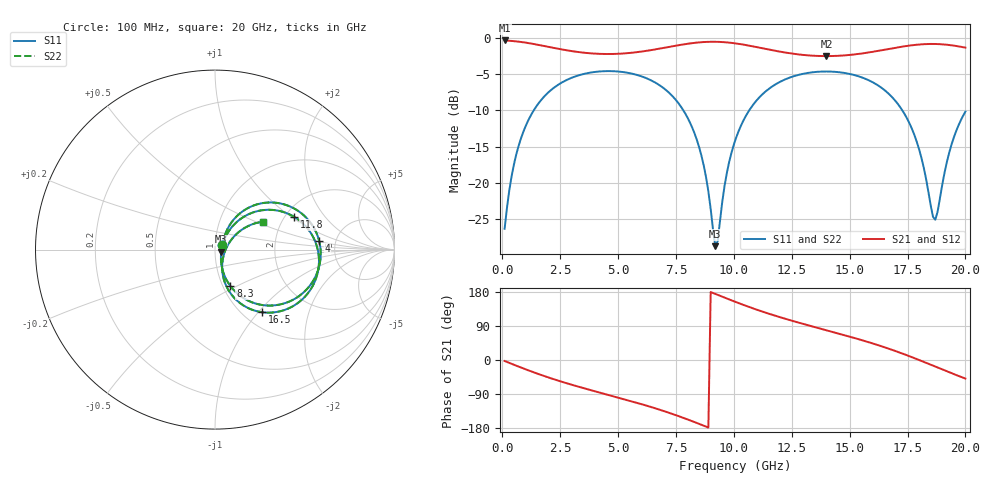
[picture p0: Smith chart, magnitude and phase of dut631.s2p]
! Touchstone file exported from HFSS 2026.1.0
!  File:  C:/ffzhzh/LocalFiles/Ansys_Project_Files/temp_train_TSV_RDL_631_1783126246_53076.aedt
!  Generated:  09:21:28 AM Jul  4, 2026
!  Design:  TSV_RDL
!  Project:  temp_train_TSV_RDL_631_1783126246_53076
! Variables:
!  h_bsmrdl = 3.3um
!  h_ox = 20um
!  h_rdl = 5um
!  h_sub = 98.74um
!  h_tmrdl = 5.38um
!  h_tsv = 98.74um
!  h_via = 3um
!  l_bsmrdl = 886.07um
!  l_sub = 6685.47um
!  l_tmrdl = 872.87um
!  m_sub = 200um
!  pitch = 53.38um
!  r_tsv = 2.19um
!  s_tmrdl = 10um
!  w_bsmrdl = 15.54um
!  w_sub = 500um
!  w_tmrdl = 29.72um
!  x_tsv_center1 = 887.73um
!  x_tsv_center2 = 1789.34um
!  x_tsv_center3 = 2691.93um
!  x_tsv_center4 = 3593.54um
!  x_tsv_center5 = 4496.13um
!  x_tsv_center6 = 5397.74um
# GHz S MA R 50.000000
! Terminal data exported
! Port[1] = TM_RDL1_1_T1
! Port[2] = TM_RDL5_1_T1
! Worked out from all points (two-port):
!   200 points, 100 MHz to 20 GHz, reference 50 ohm
!   highest |S21| = -0.36 dB at 100 MHz (marker M1); lowest = -2.5 dB at 14 GHz (marker M2)
!   |S21| within 3 dB of the highest: start of sweep to end of sweep
!   lowest |S11| = -28.7 dB at 9.2 GHz (marker M3), VSWR 1.08, Z = 53.6 - j1.29 ohm
!   |S11| at or under -10 dB: start of sweep to 1.359 GHz; 7.82 GHz to 10.66 GHz (2.843 GHz wide, 30.8 % of centre); 17.28 GHz to end of sweep
!   |S22| runs from -28.7 to -4.6 dB; largest |S21 - S12| = 1.7e-14
!   S11 on the Smith chart (normalised r, x): 100 MHz: 1.08, +0.05; 4 GHz: 3.70, +0.55; 8.3 GHz: 1.08, -0.46; 11.8 GHz: 2.24, +1.06; 16.5 GHz: 1.22, -1.05; 20 GHz: 1.62, +0.56
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0.1  0.04836 31.2  0.9595 -2.6  0.9595 -2.6  0.04836 31.2
! Gamma 0 0 0 0
! Port Impedance 50 0 50 0
0.5  0.1336 58.8  0.9491 -12.5  0.9491 -12.5  0.1336 58.8
1.2  0.2857 52.4  0.9163 -29.0  0.9163 -29.0  0.2857 52.4
2.2  0.4495 34.7  0.8536 -50.3  0.8536 -50.3  0.4495 34.7
3.5  0.563 12.8  0.7908 -74.1  0.7908 -74.1  0.563 12.8
4  0.5822 4.8  0.7786 -82.5  0.7786 -82.5  0.5822 4.8
5.4  0.5751 -17.1  0.7842 -105.8  0.7842 -105.8  0.5751 -17.1
6.8  0.4706 -40.7  0.8429 -131.2  0.8429 -131.2  0.4706 -40.7
8.3  0.2202 -67.1  0.9235 -163.8  0.9235 -163.8  0.2202 -67.1
8.8  0.1095 -69.0  0.9375 -175.8  0.9375 -175.8  0.1095 -68.9
9.2  0.03669 -19.1  0.9397 174.4  0.9397 174.4  0.03681 -19.1
9.7  0.1177 52.8  0.9304 162.2  0.9304 162.2  0.1178 52.7
10.1  0.2053 51.3  0.9145 152.7  0.9145 152.7  0.2053 51.2
11.8  0.4783 22.4  0.8138 116.6  0.8138 116.6  0.4783 22.3
13.4  0.5791 -3.5  0.7536 88.4  0.7536 88.4  0.5791 -3.5
14  0.5863 -12.7  0.7486 78.5  0.7486 78.5  0.5863 -12.8
16.5  0.4373 -52.9  0.8276 33.8  0.8276 33.8  0.4374 -53.0
16.7  0.4101 -56.4  0.8386 29.6  0.8386 29.6  0.4101 -56.4
17.8  0.2135 -72.7  0.8932 4.9  0.8932 4.9  0.2135 -72.8
18.7  0.05581 -12.9  0.9073 -17.3  0.9073 -17.3  0.05572 -12.9
19.3  0.1616 36.5  0.8929 -32.2  0.8929 -32.2  0.1615 36.5
20  0.3102 30.1  0.856 -49.0  0.856 -49.0  0.3102 30.1
